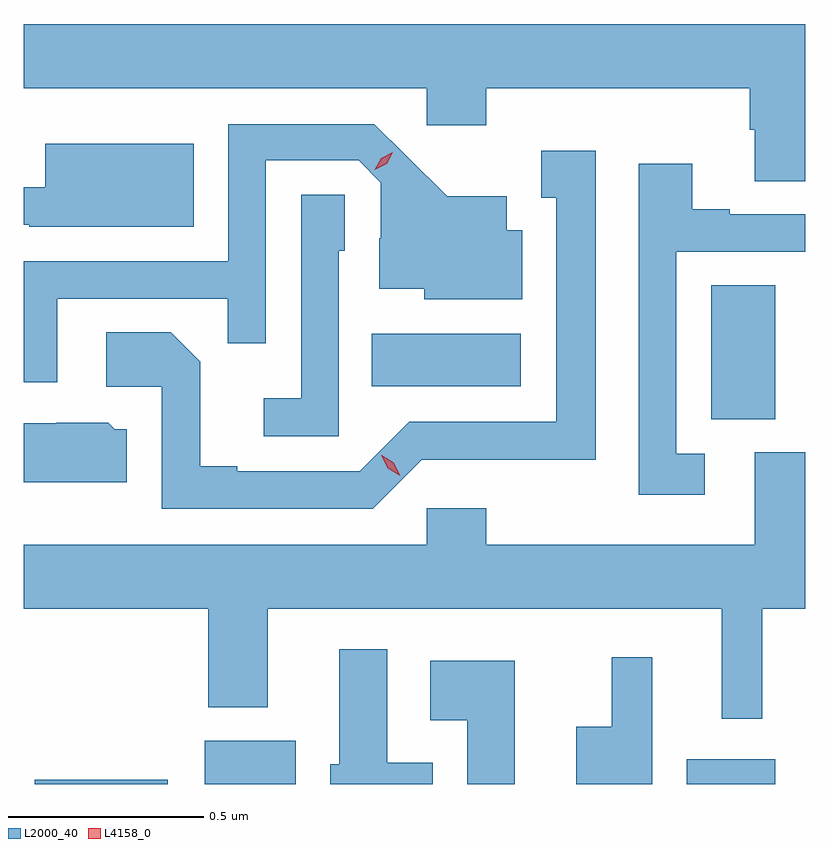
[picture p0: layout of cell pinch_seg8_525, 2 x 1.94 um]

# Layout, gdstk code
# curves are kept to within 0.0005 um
import gdstk
lib = gdstk.Library(unit=1e-6, precision=1e-09)
def R(c, l, rs):  # rectangles x0, y0, x1, y1
    for r in rs: c.add(gdstk.rectangle(r[:2], r[2:], *l))
def P(c, l, *ps):  # polygons
    for p in ps: c.add(gdstk.Polygon(p, *l))
L2000_40 = (2000, 40)
L4158_0 = (4158, 0)

pinch_seg8_525 = lib.new_cell('pinch_seg8_525')
R(pinch_seg8_525, L2000_40, [(191.118,1114.72,191.458,1114.731), (191.552,1114.72,191.785,1114.831), (192.785,1114.72,193.012,1114.783), (192.848,1115.653,193.012,1115.996), (191.98,1115.738,192.361,1115.872)])
P(pinch_seg8_525, L2000_40, [(193.089,1116.664),(191.089,1116.664),(191.089,1116.5),(192.12,1116.5),(192.12,1116.405),(192.272,1116.405),(192.272,1116.5),(192.947,1116.5),(192.947,1116.394),(192.959,1116.394),(192.959,1116.262),(193.089,1116.262)],
  [(191.175,1115.961),(191.611,1115.961),(191.611,1115.848),(191.709,1115.848),(191.709,1116.315),(191.946,1116.315),(192.003,1116.258),(192.003,1116.116),(191.999,1116.116),(191.999,1115.987),(192.114,1115.987),(192.114,1115.96),(192.364,1115.96),(192.364,1116.136),(192.325,1116.136),(192.325,1116.223),(192.173,1116.223),(191.986,1116.408),(191.613,1116.408),(191.613,1116.057),(191.089,1116.057),(191.089,1115.748),(191.175,1115.748)],
  [(191.524,1116.358),(191.144,1116.358),(191.144,1116.247),(191.089,1116.247),(191.089,1116.15),(191.104,1116.15),(191.104,1116.146),(191.524,1116.146)],
  [(192.108,1115.55),(192.33,1115.55),(192.33,1115.549),(192.553,1115.549),(192.553,1116.34),(192.413,1116.34),(192.413,1116.219),(192.452,1116.219),(192.452,1115.646),(192.075,1115.646),(191.949,1115.52),(191.635,1115.52),(191.635,1115.533),(191.541,1115.533),(191.541,1115.8),(191.465,1115.876),(191.301,1115.876),(191.301,1115.736),(191.442,1115.736),(191.442,1115.424),(191.982,1115.424)],
  [(192.832,1115.565),(192.759,1115.565),(192.759,1116.081),(193.089,1116.081),(193.089,1116.177),(192.895,1116.177),(192.895,1116.19),(192.799,1116.19),(192.799,1116.307),(192.663,1116.307),(192.663,1115.46),(192.832,1115.46)],
  [(191.895,1116.084),(191.91,1116.084),(191.91,1116.227),(191.799,1116.227),(191.799,1115.707),(191.703,1115.707),(191.703,1115.61),(191.895,1115.61)],
  [(191.353,1115.628),(191.322,1115.628),(191.306,1115.644),(191.172,1115.644),(191.172,1115.643),(191.089,1115.643),(191.089,1115.492),(191.353,1115.492)],
  [(192.979,1115.168),(193.089,1115.168),(193.089,1115.568),(192.959,1115.568),(192.959,1115.332),(192.272,1115.332),(192.272,1115.425),(192.12,1115.425),(192.12,1115.332),(191.089,1115.332),(191.089,1115.168),(191.561,1115.168),(191.561,1114.916),(191.713,1114.916),(191.713,1115.168),(192.875,1115.168),(192.875,1114.887),(192.979,1114.887)],
  [(192.136,1114.774),(192.019,1114.774),(192.019,1115.065),(191.897,1115.065),(191.897,1114.77),(191.873,1114.77),(191.873,1114.72),(192.136,1114.72)],
  [(192.697,1115.044),(192.593,1115.044),(192.593,1114.867),(192.503,1114.867),(192.503,1114.72),(192.697,1114.72)],
  [(192.346,1115.035),(192.129,1115.035),(192.129,1114.883),(192.224,1114.883),(192.224,1114.72),(192.346,1114.72)])
P(pinch_seg8_525, L4158_0, [(192.052,1115.509),(192.021,1115.528),(192.004,1115.561),(192.004,1115.561),(192.005,1115.561),(192.036,1115.542),(192.053,1115.509),(192.053,1115.509)],
  [(191.987,1116.291),(191.987,1116.291),(192.004,1116.32),(192.034,1116.336),(192.034,1116.336),(192.034,1116.336),(192.018,1116.306),(191.987,1116.291)])

lib.write_gds('pinch_seg8_525.gds')
